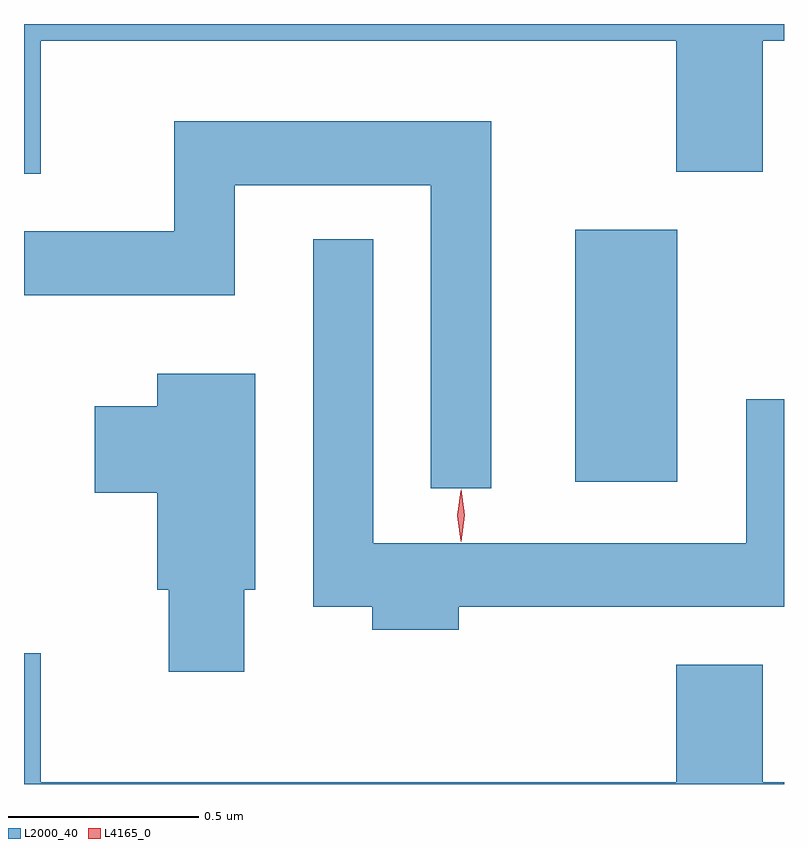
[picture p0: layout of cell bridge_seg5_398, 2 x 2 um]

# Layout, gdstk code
import gdstk
lib = gdstk.Library(unit=1e-6, precision=1e-09)
def R(c, l, rs):  # rectangles x0, y0, x1, y1
    for r in rs: c.add(gdstk.rectangle(r[:2], r[2:], *l))
def P(c, l, *ps):  # polygons
    for p in ps: c.add(gdstk.Polygon(p, *l))
L2000_40 = (2000, 40)
L4165_0 = (4165, 0)

bridge_seg5_398 = lib.new_cell('bridge_seg5_398')
R(bridge_seg5_398, L2000_40, [(530.126,1513.356,530.394,1514.019)])
P(bridge_seg5_398, L2000_40, [(528.719,1514.516),(530.391,1514.516),(530.391,1514.171),(530.619,1514.171),(530.619,1514.516),(530.675,1514.516),(530.675,1514.56),(528.675,1514.56),(528.675,1514.166),(528.719,1514.166)],
  [(529.904,1514.304),(529.071,1514.304),(529.071,1514.014),(528.675,1514.014),(528.675,1513.846),(529.229,1513.846),(529.229,1514.136),(529.746,1514.136),(529.746,1513.338),(529.904,1513.338)],
  [(529.819,1513.026),(530.675,1513.026),(530.675,1513.573),(530.576,1513.573),(530.576,1513.194),(529.594,1513.194),(529.594,1513.993),(529.436,1513.993),(529.436,1513.026),(529.591,1513.026),(529.591,1512.966),(529.819,1512.966)],
  [(529.254,1513.071),(529.284,1513.071),(529.284,1513.639),(529.026,1513.639),(529.026,1513.554),(528.861,1513.554),(528.861,1513.326),(529.026,1513.326),(529.026,1513.071),(529.056,1513.071),(529.056,1512.856),(529.254,1512.856)],
  [(530.675,1512.564),(530.619,1512.564),(530.619,1512.874),(530.391,1512.874),(530.391,1512.564),(528.719,1512.564),(528.719,1512.904),(528.675,1512.904),(528.675,1512.56),(530.675,1512.56)])
P(bridge_seg5_398, L4165_0, [(529.824,1513.199),(529.824,1513.2),(529.815,1513.266),(529.824,1513.332),(529.825,1513.333),(529.825,1513.332),(529.834,1513.266),(529.825,1513.2)],
  [(529.825,1513.197),(529.825,1513.197),(529.815,1513.267),(529.825,1513.336),(529.825,1513.336),(529.826,1513.336),(529.835,1513.267),(529.826,1513.197)])

lib.write_gds('bridge_seg5_398.gds')
